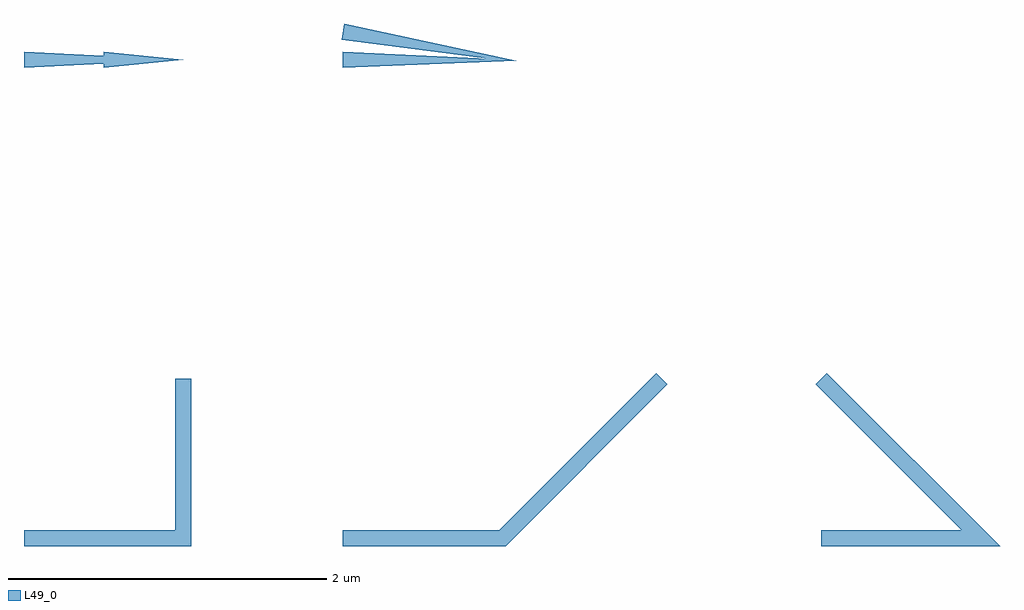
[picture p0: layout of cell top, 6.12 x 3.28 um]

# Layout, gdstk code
import gdstk
lib = gdstk.Library(unit=1e-6, precision=1e-09)
L49_0 = (49, 0)

top = lib.new_cell('top')
top.add(gdstk.FlexPath([(0,0),(1,0),(1,1)], 0.1, ends="flush", simple_path=True, layer=49, datatype=0))  # L49_0
top.add(gdstk.FlexPath([(2,0),(3,0),(4,1)], 0.1, ends="flush", simple_path=True, layer=49, datatype=0))  # L49_0
top.add(gdstk.FlexPath([(5,0),(6,0),(5,1)], 0.1, ends="flush", simple_path=True, layer=49, datatype=0))  # L49_0
top.add(gdstk.FlexPath([(0,3),(1,3),(0.5,3)], 0.1, ends="flush", simple_path=True, layer=49, datatype=0))  # L49_0
top.add(gdstk.FlexPath([(2,3),(3,3),(2,3.176)], 0.1, ends="flush", simple_path=True, layer=49, datatype=0))  # L49_0

lib.write_gds('top.gds')
